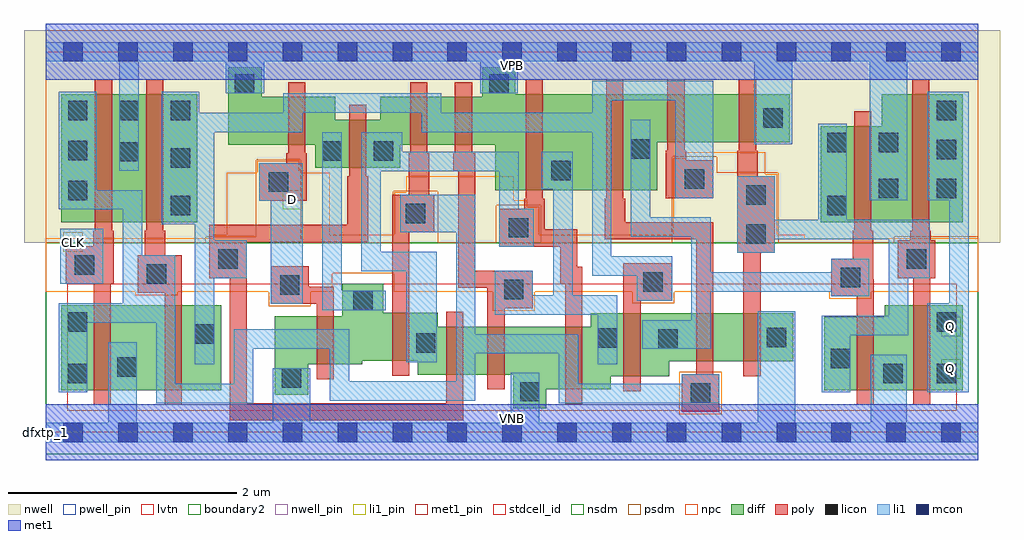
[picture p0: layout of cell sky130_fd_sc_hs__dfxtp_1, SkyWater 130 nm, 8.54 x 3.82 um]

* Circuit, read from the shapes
.subckt sky130_fd_sc_hs__dfxtp_1 CLK D Q VGND VNB VPB VPWR
XM1 VGND CLK n1 VNB sky130_fd_pr__nfet_01v8_lvt w=0.74 l=0.15
XM2 n2 n1 VGND VNB sky130_fd_pr__nfet_01v8_lvt w=0.74 l=0.15
XM3 n3 D VGND VNB sky130_fd_pr__nfet_01v8_lvt w=0.42 l=0.15
XM4 n4 n1 n3 VNB sky130_fd_pr__nfet_01v8_lvt w=0.42 l=0.15
XM5 n5 n2 n4 VNB sky130_fd_pr__nfet_01v8_lvt w=0.42 l=0.15
XM6 VGND n6 n5 VNB sky130_fd_pr__nfet_01v8_lvt w=0.42 l=0.15
XM7 n6 n4 VGND VNB sky130_fd_pr__nfet_01v8_lvt w=0.55 l=0.15
XM8 n7 n2 n6 VNB sky130_fd_pr__nfet_01v8_lvt w=0.55 l=0.15
XM9 n8 n1 n7 VNB sky130_fd_pr__nfet_01v8_lvt w=0.42 l=0.15
XM10 VGND n9 n8 VNB sky130_fd_pr__nfet_01v8_lvt w=0.42 l=0.15
XM11 VGND n7 n9 VNB sky130_fd_pr__nfet_01v8_lvt w=0.64 l=0.15
XM12 Q n9 VGND VNB sky130_fd_pr__nfet_01v8_lvt w=0.74 l=0.15
XM13 VPWR CLK n1 VPB sky130_fd_pr__pfet_01v8 w=1.12 l=0.15
XM14 n2 n1 VPWR VPB sky130_fd_pr__pfet_01v8 w=1.12 l=0.15
XM15 n3 D VPWR VPB sky130_fd_pr__pfet_01v8 w=0.42 l=0.15
XM16 n4 n2 n3 VPB sky130_fd_pr__pfet_01v8 w=0.42 l=0.15
XM17 n10 n1 n4 VPB sky130_fd_pr__pfet_01v8 w=0.42 l=0.15
XM18 VPWR n6 n10 VPB sky130_fd_pr__pfet_01v8 w=0.42 l=0.15
XM19 n6 n4 VPWR VPB sky130_fd_pr__pfet_01v8 w=0.84 l=0.15
XM20 n7 n1 n6 VPB sky130_fd_pr__pfet_01v8 w=0.84 l=0.15
XM21 n11 n2 n7 VPB sky130_fd_pr__pfet_01v8 w=0.42 l=0.15
XM22 VPWR n9 n11 VPB sky130_fd_pr__pfet_01v8 w=0.42 l=0.15
XM23 VPWR n7 n9 VPB sky130_fd_pr__pfet_01v8 w=0.84 l=0.15
XM24 Q n9 VPWR VPB sky130_fd_pr__pfet_01v8 w=1.12 l=0.15
.ends

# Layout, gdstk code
import gdstk
lib = gdstk.Library(unit=1e-6, precision=1e-09)
def R(c, l, rs):  # rectangles x0, y0, x1, y1
    for r in rs: c.add(gdstk.rectangle(r[:2], r[2:], *l))
def A(c, l, x, y, w, h, nx, ny, dx, dy):  # array of equal rectangles
    R(c, l, [(x+i*dx, y+j*dy, x+i*dx+w, y+j*dy+h) for i in range(nx) for j in range(ny)])
def P(c, l, *ps):  # polygons
    for p in ps: c.add(gdstk.Polygon(p, *l))
nwell_pin = (64, 16)
nwell = (64, 20)
diff = (65, 20)
poly = (66, 20)
licon = (66, 44)
li1_pin = (67, 16)
li1 = (67, 20)
mcon = (67, 44)
met1_pin = (68, 16)
met1 = (68, 20)
stdcell_id = (81, 4)
nsdm = (93, 44)
psdm = (94, 20)
npc = (95, 20)
pwell_pin = (122, 16)
lvtn = (125, 44)
boundary2 = (236, 0)

sky130_fd_sc_hs__dfxtp_1 = lib.new_cell('sky130_fd_sc_hs__dfxtp_1')
R(sky130_fd_sc_hs__dfxtp_1, nwell_pin, [(0,3.085,8.16,3.33)])
R(sky130_fd_sc_hs__dfxtp_1, nwell, [(-0.19,1.66,8.35,3.52)])
R(sky130_fd_sc_hs__dfxtp_1, diff, [(0.135,0.37,1.535,1.11), (0.135,1.84,1.325,2.96)])
P(sky130_fd_sc_hs__dfxtp_1, diff, [(6.51,2.96),(4.11,2.96),(4.11,3.195),(3.82,3.195),(3.82,2.935),(2.925,2.935),(2.925,2.735),(2.535,2.735),(2.535,2.935),(1.89,2.935),(1.89,3.195),(1.595,3.195),(1.595,2.515),(2.36,2.515),(2.36,2.315),(3.1,2.315),(3.1,2.515),(3.935,2.515),(3.935,2.12),(5.35,2.12),(5.35,2.54),(6.51,2.54)],
  [(6.54,1.04),(4.77,1.04),(4.77,0.925),(3.43,0.925),(3.43,1.045),(2.955,1.045),(2.955,1.3),(2.595,1.3),(2.595,1.015),(2.005,1.015),(2.005,0.33),(2.295,0.33),(2.295,0.595),(2.77,0.595),(2.77,0.625),(3.255,0.625),(3.255,0.505),(4.09,0.505),(4.09,0.21),(4.38,0.21),(4.38,0.375),(4.945,0.375),(4.945,0.49),(5.455,0.49),(5.455,0.62),(6.54,0.62)],
  [(8.025,2.96),(7.315,2.96),(7.315,2.68),(6.78,2.68),(6.78,1.84),(8.025,1.84)],
  [(8.025,1.11),(7.34,1.11),(7.34,1.01),(6.81,1.01),(6.81,0.37),(8.025,0.37)])
P(sky130_fd_sc_hs__dfxtp_1, poly, [(0.595,1.765),(0.58,1.765),(0.58,3.09),(0.43,3.09),(0.43,1.765),(0.415,1.765),(0.415,1.63),(0.175,1.63),(0.175,1.3),(0.42,1.3),(0.42,0.24),(0.57,0.24),(0.57,1.3),(0.595,1.3)],
  [(1.19,1.55),(1.045,1.55),(1.045,1.765),(1.03,1.765),(1.03,3.09),(0.88,3.09),(0.88,1.765),(0.865,1.765),(0.865,1.55),(0.805,1.55),(0.805,1.22),(1.04,1.22),(1.04,0.24),(1.19,0.24)],
  [(2.285,2.44),(2.27,2.44),(2.27,3.065),(2.12,3.065),(2.12,2.44),(2.105,2.44),(2.105,2.355),(1.87,2.355),(1.87,2.025),(2.285,2.025)],
  [(2.52,1.275),(2.3,1.275),(2.3,1.455),(1.97,1.455),(1.97,1.125),(2.37,1.125),(2.37,0.465),(2.52,0.465)],
  [(3.4,2.08),(3.355,2.08),(3.355,2.44),(3.34,2.44),(3.34,3.065),(3.19,3.065),(3.19,2.44),(3.175,2.44),(3.175,2.08),(3.03,2.08),(3.03,0.495),(3.18,0.495),(3.18,1.75),(3.4,1.75)],
  [(3.655,1.055),(3.505,1.055),(3.505,0.255),(1.76,0.255),(1.76,1.665),(2.82,1.665),(2.82,2.24),(2.805,2.24),(2.805,2.865),(2.655,2.865),(2.655,2.24),(2.64,2.24),(2.64,1.815),(1.43,1.815),(1.43,1.35),(1.61,1.35),(1.61,0.105),(3.655,0.105)],
  [(4.26,1.415),(3.76,1.415),(3.76,2.44),(3.73,2.44),(3.73,3.065),(3.58,3.065),(3.58,2.44),(3.565,2.44),(3.565,2.29),(3.61,2.29),(3.61,1.265),(3.865,1.265),(3.865,0.375),(4.015,0.375),(4.015,1.085),(4.26,1.085)],
  [(4.695,1.45),(4.65,1.45),(4.65,1.775),(4.365,1.775),(4.365,2.045),(4.35,2.045),(4.35,3.09),(4.2,3.09),(4.2,2.045),(4.185,2.045),(4.185,1.955),(3.97,1.955),(3.97,1.625),(4.5,1.625),(4.5,1.3),(4.545,1.3),(4.545,0.245),(4.695,0.245)],
  [(5.48,1.48),(5.055,1.48),(5.055,0.36),(5.205,0.36),(5.205,1.15),(5.48,1.15)],
  [(5.84,2.38),(5.605,2.38),(5.605,2.465),(5.59,2.465),(5.59,3.09),(5.44,3.09),(5.44,2.465),(5.425,2.465),(5.425,2.05),(5.84,2.05)],
  [(5.895,0.51),(5.84,0.51),(5.84,1.84),(5.07,1.84),(5.07,2.045),(5.055,2.045),(5.055,3.09),(4.905,3.09),(4.905,2.045),(4.89,2.045),(4.89,1.69),(5.69,1.69),(5.69,0.51),(5.565,0.51),(5.565,0.18),(5.895,0.18)],
  [(6.38,2.24),(6.23,2.24),(6.23,2.465),(6.215,2.465),(6.215,3.09),(6.065,3.09),(6.065,2.465),(6.05,2.465),(6.05,1.57),(6.105,1.57),(6.105,0.49),(6.255,0.49),(6.255,1.57),(6.38,1.57)],
  [(7.245,1.34),(7.24,1.34),(7.24,1.765),(7.225,1.765),(7.225,2.81),(7.075,2.81),(7.075,1.765),(7.06,1.765),(7.06,1.52),(6.875,1.52),(6.875,1.19),(7.095,1.19),(7.095,0.24),(7.245,0.24)],
  [(7.785,1.68),(7.745,1.68),(7.745,1.765),(7.73,1.765),(7.73,3.09),(7.58,3.09),(7.58,1.765),(7.565,1.765),(7.565,1.68),(7.455,1.68),(7.455,1.35),(7.59,1.35),(7.59,0.24),(7.74,0.24),(7.74,1.35),(7.785,1.35)])
A(sky130_fd_sc_hs__dfxtp_1, licon, 7.795, 2.05, 0.17, 0.17, 1, 3, 0, 0.34)
A(sky130_fd_sc_hs__dfxtp_1, licon, 0.195, 2.73, 0.17, 0.17, 3, 1, 0.45, 0)
R(sky130_fd_sc_hs__dfxtp_1, licon, [(5.645,0.26,5.815,0.43), (4.15,0.27,4.32,0.44), (2.065,0.39,2.235,0.56), (0.195,0.43,0.365,0.6), (7.33,0.43,7.5,0.6), (7.795,0.43,7.965,0.6), (0.625,0.485,0.795,0.655), (6.87,0.56,7.04,0.73), (3.24,0.695,3.41,0.865), (5.36,0.73,5.53,0.9), (4.83,0.74,5,0.91), (6.31,0.745,6.48,0.915), (1.305,0.775,1.475,0.945), (0.195,0.88,0.365,1.05), (7.795,0.88,7.965,1.05), (2.69,1.07,2.86,1.24), (4.01,1.165,4.18,1.335), (2.05,1.205,2.22,1.375), (5.23,1.23,5.4,1.4), (6.955,1.27,7.125,1.44), (0.885,1.3,1.055,1.47), (0.255,1.38,0.425,1.55), (1.51,1.43,1.68,1.6), (7.535,1.43,7.705,1.6), (6.13,1.65,6.3,1.82), (4.05,1.705,4.22,1.875), (3.15,1.83,3.32,2), (1.095,1.9,1.265,2.07), (6.84,1.9,7.01,2.07), (6.13,1.99,6.3,2.16), (0.195,2.03,0.365,2.2), (7.29,2.05,7.46,2.22), (1.95,2.105,2.12,2.275), (5.59,2.13,5.76,2.3), (4.425,2.205,4.595,2.375), (1.095,2.315,1.265,2.485), (0.645,2.37,0.815,2.54), (2.42,2.375,2.59,2.545), (2.87,2.375,3.04,2.545), (0.195,2.38,0.365,2.55), (5.12,2.395,5.29,2.565), (6.84,2.45,7.01,2.62), (7.29,2.45,7.46,2.62), (6.28,2.665,6.45,2.835), (1.655,2.965,1.825,3.135), (3.88,2.965,4.05,3.135)])
R(sky130_fd_sc_hs__dfxtp_1, li1_pin, [(7.835,0.47,8.005,0.64), (7.835,0.84,8.005,1.01), (0.155,1.58,0.325,1.75), (2.075,1.95,2.245,2.12)])
R(sky130_fd_sc_hs__dfxtp_1, li1, [(0.125,1.3,0.505,1.78)])
P(sky130_fd_sc_hs__dfxtp_1, li1, [(0,-0.085),(0,0.085),(0.545,0.085),(0.545,0.79),(0.795,0.79),(0.795,0.085),(1.985,0.085),(1.985,0.56),(2.315,0.56),(2.315,0.085),(4.07,0.085),(4.07,0.52),(4.32,0.52),(4.32,0.085),(6.23,0.085),(6.23,1.06),(6.56,1.06),(6.56,0.085),(7.22,0.085),(7.22,0.68),(7.535,0.68),(7.535,0.085),(8.16,0.085),(8.16,-0.085)],
  [(0,3.245),(0,3.415),(8.16,3.415),(8.16,3.245),(7.54,3.245),(7.54,2.03),(7.21,2.03),(7.21,3.245),(6.53,3.245),(6.53,2.52),(6.2,2.52),(6.2,3.245),(4.13,3.245),(4.13,2.965),(3.8,2.965),(3.8,3.245),(1.91,3.245),(1.91,2.965),(1.575,2.965),(1.575,3.245),(0.815,3.245),(0.815,2.29),(0.645,2.29),(0.645,3.245)],
  [(7.715,0.35),(7.715,1.13),(7.905,1.13),(7.905,2.03),(7.715,2.03),(7.715,2.98),(8.075,2.98),(8.075,0.35)],
  [(4.78,3.075),(5.84,3.075),(5.84,2.05),(5.51,2.05),(5.51,2.905),(4.95,2.905),(4.95,1.54),(5.48,1.54),(5.48,1.15),(5.17,1.15),(5.17,1.37),(4.78,1.37),(4.78,2.625),(3.29,2.625),(3.29,2.795),(2.25,2.795),(2.25,2.625),(1.475,2.625),(1.475,1.68),(1.76,1.68),(1.76,1.35),(1.475,1.35),(1.475,0.595),(1.305,0.595),(1.305,1.82),(1.015,1.82),(1.015,2.98),(1.345,2.98),(1.345,2.795),(2.08,2.795),(2.08,2.965),(3.46,2.965),(3.46,2.795),(4.78,2.795)],
  [(5.65,1.71),(5.12,1.71),(5.12,2.735),(5.29,2.735),(5.29,1.88),(5.82,1.88),(5.82,1.4),(6.875,1.4),(6.875,1.52),(7.205,1.52),(7.205,1.19),(6.875,1.19),(6.875,1.23),(5.82,1.23),(5.82,0.73),(5.22,0.73),(5.22,0.98),(5.65,0.98)],
  [(2.485,0.275),(2.485,0.73),(1.815,0.73),(1.815,0.255),(0.965,0.255),(0.965,0.96),(0.365,0.96),(0.365,0.35),(0.115,0.35),(0.115,1.13),(0.675,1.13),(0.675,1.95),(0.115,1.95),(0.115,2.98),(0.445,2.98),(0.445,2.12),(0.845,2.12),(0.845,1.55),(1.135,1.55),(1.135,0.425),(1.645,0.425),(1.645,0.9),(2.655,0.9),(2.655,0.445),(3.59,0.445),(3.59,1.75),(3.1,1.75),(3.1,2.08),(3.76,2.08),(3.76,0.86),(4.66,0.86),(4.66,0.425),(5.565,0.425),(5.565,0.51),(5.895,0.51),(5.895,0.255),(4.49,0.255),(4.49,0.69),(3.76,0.69),(3.76,0.275)],
  [(7.545,0.85),(7.04,0.85),(7.04,0.35),(6.79,0.35),(6.79,1.02),(7.375,1.02),(7.375,1.69),(6.38,1.69),(6.38,1.57),(6.05,1.57),(6.05,2.24),(6.38,2.24),(6.38,1.86),(6.76,1.86),(6.76,2.7),(7.01,2.7),(7.01,1.86),(7.735,1.86),(7.735,1.35),(7.545,1.35)],
  [(2.42,1.07),(2.42,2.625),(2.59,2.625),(2.59,1.24),(2.975,1.24),(2.975,1.07)],
  [(2.76,1.41),(2.76,2.625),(3.12,2.625),(3.12,2.455),(4.14,2.455),(4.14,1.955),(4.27,1.955),(4.27,1.625),(3.97,1.625),(3.97,2.285),(2.93,2.285),(2.93,1.58),(3.42,1.58),(3.42,0.615),(3.155,0.615),(3.155,1.41)],
  [(4.44,1.2),(4.44,2.125),(4.335,2.125),(4.335,2.455),(4.61,2.455),(4.61,1.2),(5,1.2),(5,0.595),(4.83,0.595),(4.83,1.03),(3.93,1.03),(3.93,1.415),(4.26,1.415),(4.26,1.2)],
  [(1.87,2.025),(1.87,2.355),(2.25,2.355),(2.25,1.125),(1.97,1.125),(1.97,2.025)])
A(sky130_fd_sc_hs__dfxtp_1, mcon, 0.155, -0.085, 0.17, 0.17, 17, 2, 0.48, 3.33)
R(sky130_fd_sc_hs__dfxtp_1, met1_pin, [(0,0,8.16,0.245), (0,3.085,8.16,3.33)])
R(sky130_fd_sc_hs__dfxtp_1, met1, [(0,-0.245,8.16,0.245), (0,3.085,8.16,3.575)])
R(sky130_fd_sc_hs__dfxtp_1, stdcell_id, [(0,0,8.16,3.33)])
R(sky130_fd_sc_hs__dfxtp_1, nsdm, [(0,-0.19,8.16,1.66)])
P(sky130_fd_sc_hs__dfxtp_1, psdm, [(8.16,3.52),(0,3.52),(0,1.66),(1.4,1.66),(1.4,1.71),(1.84,1.71),(1.84,2.385),(2.23,2.385),(2.23,1.66),(3.04,1.66),(3.04,2.11),(3.43,2.11),(3.43,1.66),(3.94,1.66),(3.94,1.985),(4.33,1.985),(4.33,1.66),(5.48,1.66),(5.48,2.41),(5.87,2.41),(5.87,2.27),(6.41,2.27),(6.41,1.66),(7.425,1.66),(7.425,1.71),(8.16,1.71)])
R(sky130_fd_sc_hs__dfxtp_1, npc, [(5.545,0.16,5.915,0.53)])
P(sky130_fd_sc_hs__dfxtp_1, npc, [(8.16,1.7),(6.64,1.7),(6.64,1.73),(6.4,1.73),(6.4,2.26),(6.295,2.26),(6.295,2.45),(5.595,2.45),(5.595,2.4),(5.49,2.4),(5.49,1.73),(4.32,1.73),(4.32,1.975),(4.215,1.975),(4.215,2.03),(4.095,2.03),(4.095,2.24),(3.155,2.24),(3.155,2.1),(3.05,2.1),(3.05,1.73),(2.485,1.73),(2.485,2.27),(2.22,2.27),(2.22,2.375),(1.85,2.375),(1.85,2.27),(1.585,2.27),(1.585,1.73),(1.465,1.73),(1.465,1.7),(0,1.7),(0,1.23),(0.785,1.23),(0.785,1.2),(1.155,1.2),(1.155,1.23),(1.95,1.23),(1.95,1.105),(2.32,1.105),(2.32,1.23),(2.505,1.23),(2.505,1.39),(3.045,1.39),(3.045,1.23),(3.91,1.23),(3.91,1.065),(4.28,1.065),(4.28,1.23),(5.13,1.23),(5.13,1.13),(5.5,1.13),(5.5,1.23),(6.855,1.23),(6.855,1.17),(7.225,1.17),(7.225,1.23),(8.16,1.23)])
R(sky130_fd_sc_hs__dfxtp_1, pwell_pin, [(0,0,8.16,0.245)])
R(sky130_fd_sc_hs__dfxtp_1, lvtn, [(0.19,0.19,7.97,1.3)])
R(sky130_fd_sc_hs__dfxtp_1, boundary2, [(0,0,8.16,3.33)])
sky130_fd_sc_hs__dfxtp_1.add(gdstk.Label('dfxtp_1', (0,0), layer=83, texttype=44))
sky130_fd_sc_hs__dfxtp_1.add(gdstk.Label('VNB', (4.08,0.123), layer=64, texttype=59))
sky130_fd_sc_hs__dfxtp_1.add(gdstk.Label('VPB', (4.08,3.208), layer=64, texttype=5))
sky130_fd_sc_hs__dfxtp_1.add(gdstk.Label('VPWR', (4.08,3.208), layer=68, texttype=5))
sky130_fd_sc_hs__dfxtp_1.add(gdstk.Label('VGND', (4.08,0.123), layer=68, texttype=5))
sky130_fd_sc_hs__dfxtp_1.add(gdstk.Label('CLK', (0.24,1.665), layer=67, texttype=5))
sky130_fd_sc_hs__dfxtp_1.add(gdstk.Label('Q', (7.92,0.555), layer=67, texttype=5))
sky130_fd_sc_hs__dfxtp_1.add(gdstk.Label('Q', (7.92,0.925), layer=67, texttype=5))
sky130_fd_sc_hs__dfxtp_1.add(gdstk.Label('D', (2.16,2.035), layer=67, texttype=5))

lib.write_gds('sky130_fd_sc_hs__dfxtp_1.gds')
